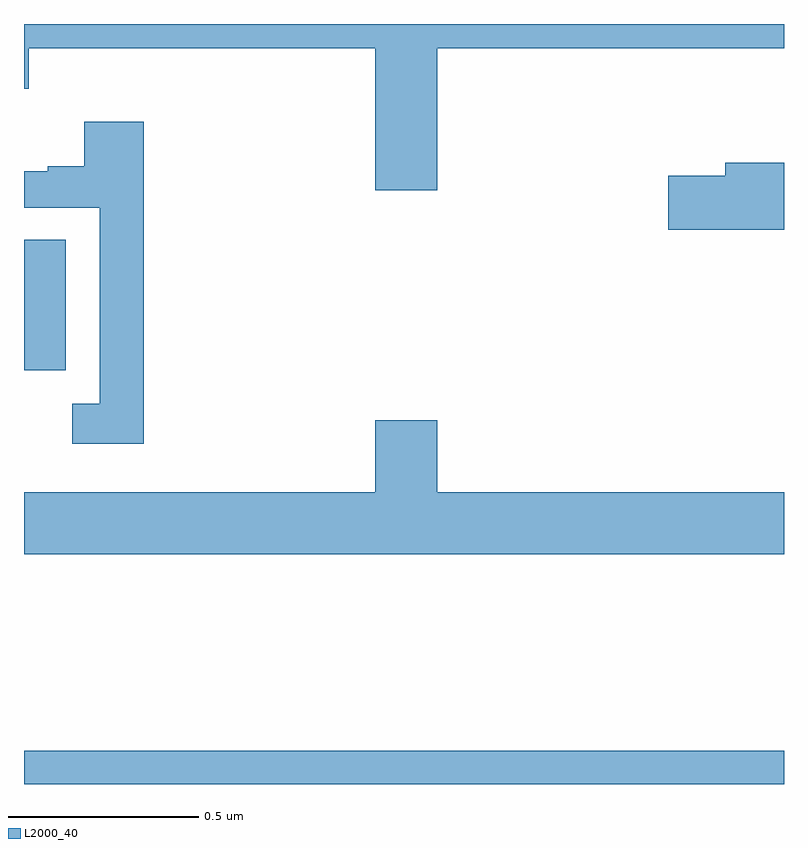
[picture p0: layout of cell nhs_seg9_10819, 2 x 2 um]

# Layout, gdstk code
import gdstk
lib = gdstk.Library(unit=1e-6, precision=1e-09)
def R(c, l, rs):  # rectangles x0, y0, x1, y1
    for r in rs: c.add(gdstk.rectangle(r[:2], r[2:], *l))
def P(c, l, *ps):  # polygons
    for p in ps: c.add(gdstk.Polygon(p, *l))
L2000_40 = (2000, 40)

nhs_seg9_10819 = lib.new_cell('nhs_seg9_10819')
R(nhs_seg9_10819, L2000_40, [(248,1178.5,250,1178.588), (248,1179.589,248.11,1179.932)])
P(nhs_seg9_10819, L2000_40, [(249.088,1180.436),(250,1180.436),(250,1180.5),(248,1180.5),(248,1180.33),(248.012,1180.33),(248.012,1180.436),(248.924,1180.436),(248.924,1180.062),(249.088,1180.062)],
  [(248.315,1180.243),(248.159,1180.243),(248.159,1180.126),(248.063,1180.126),(248.063,1180.113),(248,1180.113),(248,1180.017),(248.199,1180.017),(248.199,1179.501),(248.127,1179.501),(248.127,1179.396),(248.315,1179.396)],
  [(250,1180.135),(249.845,1180.135),(249.845,1180.101),(249.696,1180.101),(249.696,1179.959),(250,1179.959)],
  [(250,1179.268),(249.088,1179.268),(249.088,1179.457),(248.924,1179.457),(248.924,1179.268),(248,1179.268),(248,1179.104),(250,1179.104)])

lib.write_gds('nhs_seg9_10819.gds')
